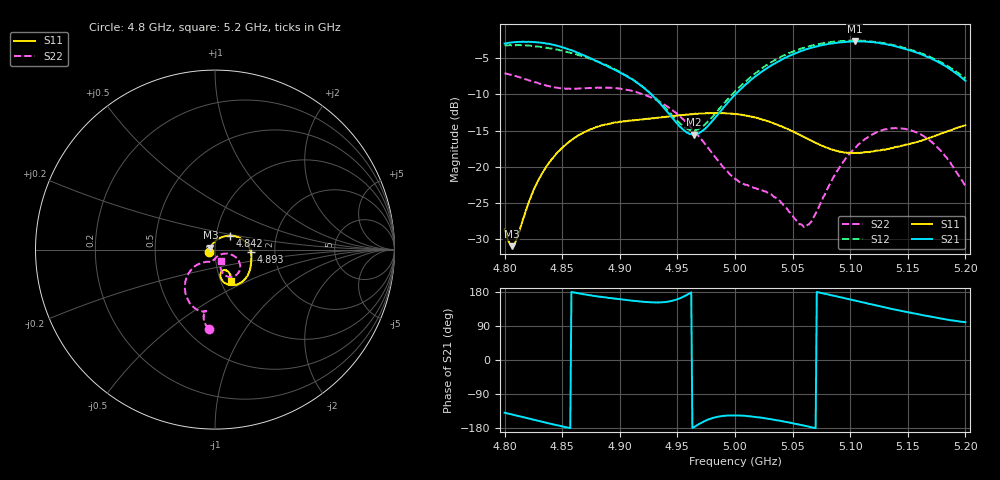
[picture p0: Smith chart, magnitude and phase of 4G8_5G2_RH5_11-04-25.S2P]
! Network Analyzer HP8722D
! Hewlett-Packard
! Data name:
! Saver's name:
! Comments:
! Time and date: 11/4/2025 09:59
!  Frequency  S11  S21  S12  S22
# HZ  S  DB R 50
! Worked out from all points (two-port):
!   401 points, 4.8 GHz to 5.2 GHz, reference 50 ohm
!   highest |S21| = -2.66 dB at 5.104 GHz (marker M1); lowest = -15.6 dB at 4.964 GHz (marker M2)
!   |S21| within 3 dB of the highest: start of sweep to 4.883 GHz; 5.035 GHz to 5.178 GHz (142.6 MHz wide, 2.79 % of centre)
!   lowest |S11| = -31.0 dB at 4.806 GHz (marker M3), VSWR 1.06, Z = 47.5 + j1.03 ohm
!   |S11| at or under -10 dB: start of sweep to end of sweep
!   |S22| runs from -28.4 to -7.1 dB; largest |S21 - S12| = 0.086
!   S11 on the Smith chart (normalised r, x): 4.8 GHz: 0.93, -0.02; 4.842 GHz: 1.17, +0.18; 4.893 GHz: 1.50, -0.04; 5.2 GHz: 1.12, -0.40
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4.8e9  -28.71 -161.0  -2.97 -139.2  -3.23 -136.6  -7.10 -94.3
4.806e9  -30.99 157.4  -2.85 -143.4  -3.23 -140.7  -7.30 -96.0
4.81e9  -30.16 125.8  -2.78 -146.3  -3.23 -143.6  -7.47 -97.1
4.827e9  -22.64 64.4  -2.80 -158.8  -3.39 -154.8  -8.35 -99.4
4.842e9  -18.81 42.2  -3.15 -169.8  -3.74 -164.0  -8.98 -99.2
4.867e9  -15.42 16.6  -4.50 174.2  -4.71 -178.0  -9.17 -98.5
4.893e9  -13.97 -3.7  -6.41 162.9  -6.30 169.2  -9.09 -105.6
4.934e9  -13.22 -24.3  -11.11 151.8  -10.94 158.7  -10.99 -126.3
4.954e9  -12.88 -32.8  -14.75 165.3  -14.27 171.5  -13.31 -136.3
4.964e9  -12.71 -37.5  -15.56 -178.0  -14.99 -172.4  -14.91 -139.3
4.975e9  -12.61 -43.1  -14.59 -159.3  -14.00 -155.1  -17.08 -140.1
5e9  -12.72 -56.1  -10.07 -146.2  -9.59 -143.2  -21.67 -124.7
5.033e9  -13.97 -71.9  -5.86 -157.0  -5.42 -155.2  -24.07 -99.8
5.058e9  -15.75 -78.2  -3.98 -171.8  -3.65 -170.8  -28.04 -65.6
5.067e9  -16.47 -78.5  -3.53 -177.8  -3.22 -176.7  -27.37 -39.1
5.087e9  -17.78 -74.2  -2.90 168.8  -2.71 169.7  -21.03 -16.9
5.104e9  -18.11 -68.2  -2.66 157.1  -2.58 158.1  -17.41 -22.4
5.134e9  -17.52 -61.0  -3.18 136.3  -3.07 137.8  -14.74 -44.3
5.151e9  -16.87 -59.3  -3.89 125.5  -3.75 127.3  -14.88 -57.3
5.167e9  -16.11 -58.4  -4.83 116.0  -4.67 117.9  -16.14 -68.2
5.182e9  -15.27 -59.5  -6.01 107.6  -5.83 109.8  -18.45 -73.5
5.2e9  -14.27 -63.1  -8.14 99.9  -7.80 101.6  -22.60 -61.0
